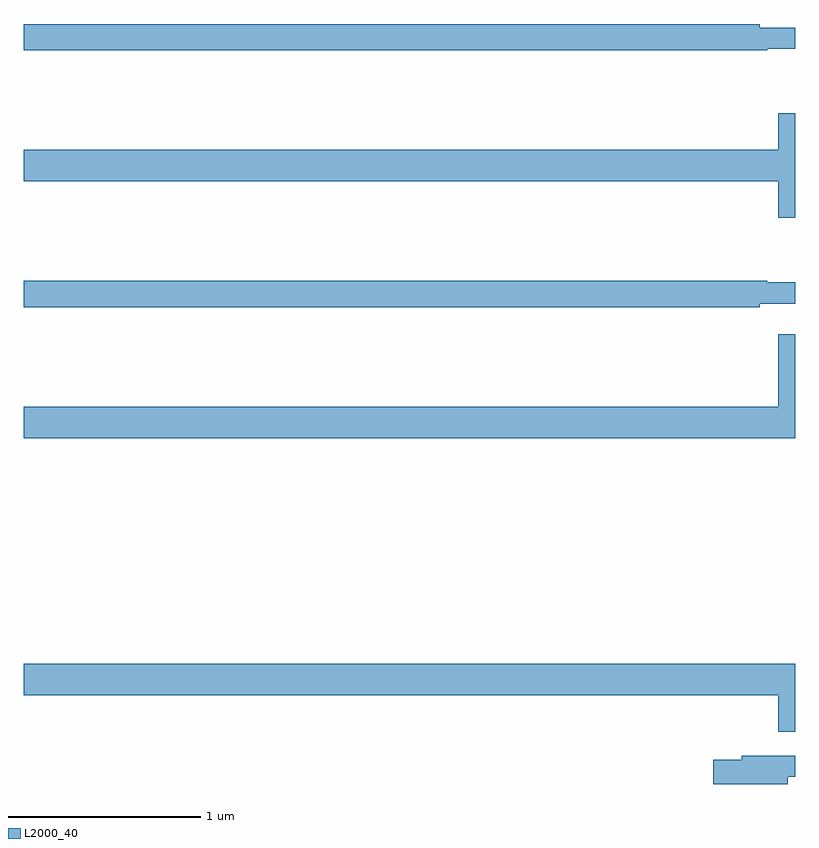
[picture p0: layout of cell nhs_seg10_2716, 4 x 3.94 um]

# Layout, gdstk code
import gdstk
lib = gdstk.Library(unit=1e-6, precision=1e-09)
def P(c, l, *ps):  # polygons
    for p in ps: c.add(gdstk.Polygon(p, *l))
L2000_40 = (2000, 40)

nhs_seg10_2716 = lib.new_cell('nhs_seg10_2716')
P(nhs_seg10_2716, L2000_40, [(260.855,1326.312),(261,1326.312),(261,1326.421),(260.816,1326.421),(260.816,1326.44),(257,1326.44),(257,1326.304),(260.855,1326.304)],
  [(261,1325.977),(260.912,1325.977),(260.912,1325.788),(257,1325.788),(257,1325.624),(260.912,1325.624),(260.912,1325.436),(261,1325.436)],
  [(260.816,1324.991),(261,1324.991),(261,1325.101),(260.855,1325.101),(260.855,1325.108),(257,1325.108),(257,1324.972),(260.816,1324.972)],
  [(261,1324.831),(260.912,1324.831),(260.912,1324.456),(257,1324.456),(257,1324.292),(261,1324.292)],
  [(261,1323.124),(257,1323.124),(257,1322.96),(260.912,1322.96),(260.912,1322.772),(261,1322.772)],
  [(260.962,1322.538),(261,1322.538),(261,1322.646),(260.723,1322.646),(260.723,1322.625),(260.574,1322.625),(260.574,1322.5),(260.962,1322.5)])

lib.write_gds('nhs_seg10_2716.gds')
